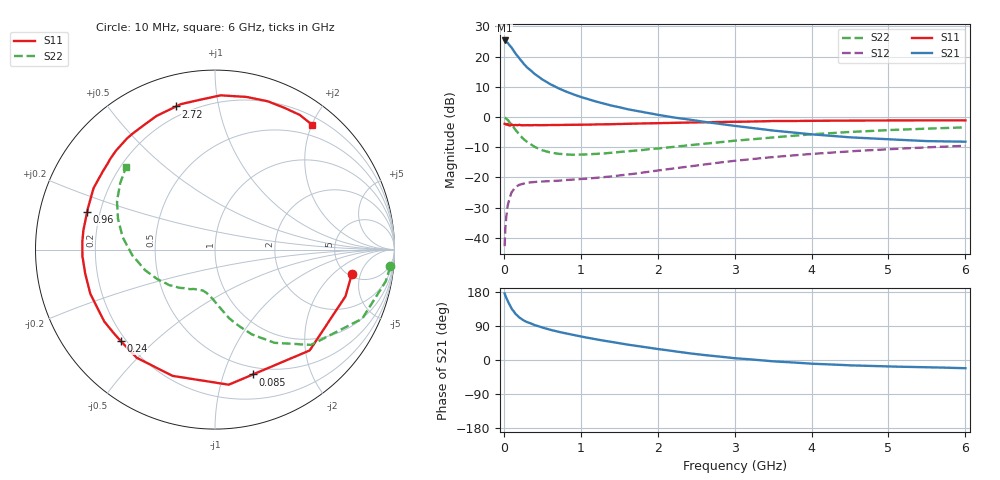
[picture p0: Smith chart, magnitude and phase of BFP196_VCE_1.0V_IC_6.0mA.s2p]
! Infineon Technologies  Discrete & RF Semiconductors
! BFP196
! VCE = 1.0 V,  IC = 6.0mA
! Common Emitter S-Parameters:  Jan 2016
# GHz  S  MA  R  50
!  f  S11  S21  S12  S22
! GHz  MAG  ANG  MAG  ANG  MAG  ANG  MAG  ANG
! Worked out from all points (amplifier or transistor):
!   210 points, 10 MHz to 6 GHz, reference 50 ohm
!   highest |S21| = 25.4 dB at 10 MHz (marker M1)
!   |S21| within 3 dB of that: start of sweep to 117.1 MHz
!   unconditionally stable (mu >= 1): 1.014 GHz to end of sweep
!   at 185 MHz: K = 0.22, MSG = 21.3 dB, |S12| = -22.7 dB
!   at 1.52 GHz: K = 1.20, MAG = 8.5 dB, |S12| = -19.3 dB
!   at 6 GHz: K = 1.04, MAG = -0.5 dB, |S12| = -9.5 dB
!   S11 on the Smith chart (normalised r, x): 10 MHz: 5.31, -3.63; 85 MHz: 0.43, -1.26; 240 MHz: 0.18, -0.39; 960 MHz: 0.15, +0.14; 2.72 GHz: 0.15, +0.75; 6 GHz: 0.32, +2.00
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0.01  0.7742 -10.2  18.52 175.7  0.0073 86.1  0.9812 -5.5
0.02  0.7721 -19.7  17.99 169.4  0.0146 80.2  0.9678 -10.5
0.05  0.7707 -46.8  16.95 155.0  0.0344 66.9  0.9058 -25.2
0.085  0.727 -73.1  14.8 142.1  0.0497 53.8  0.7888 -38.2
0.1  0.7566 -84.2  14.16 135.5  0.0568 50.4  0.7536 -44.8
0.15  0.7423 -108.6  11.33 121.7  0.0692 40.2  0.6164 -57.4
0.2  0.7439 -126.0  9.388 112.3  0.0756 33.4  0.5152 -66.5
0.24  0.7316 -135.9  8.11 106.8  0.0782 29.8  0.4534 -71.8
0.3  0.7356 -147.0  6.675 100.1  0.0818 26.6  0.3899 -78.4
0.4  0.7372 -160.4  5.178 92.1  0.0845 23.5  0.3216 -85.6
0.5  0.7353 -169.5  4.19 85.5  0.0857 22.2  0.2822 -91.3
0.6  0.7396 -177.1  3.519 79.8  0.0872 21.9  0.2602 -96.1
0.7  0.7405 176.6  3.039 74.7  0.0883 22.6  0.2477 -100.1
0.96  0.7425 163.7  2.24 63.9  0.0935 24.7  0.2383 -108.3
1.02  0.7455 160.8  2.113 61.4  0.0946 25.4  0.2394 -110.2
1.4  0.7618 145.7  1.548 47.7  0.1042 30.0  0.2573 -120.8
2.02  0.7927 125.4  1.08 28.5  0.1314 35.3  0.3034 -137.8
2.72  0.8265 105.2  0.798 10.8  0.1716 34.5  0.3735 -156.5
3.1  0.8379 96.3  0.691 3.3  0.1944 31.6  0.4155 -166.4
4.1  0.8689 76.7  0.507 -10.5  0.2503 21.6  0.5272 170.3
5.1  0.88 62.8  0.423 -17.5  0.2981 10.1  0.6154 151.8
6  0.8809 52.2  0.391 -21.7  0.3348 -0.9  0.6758 137.2
